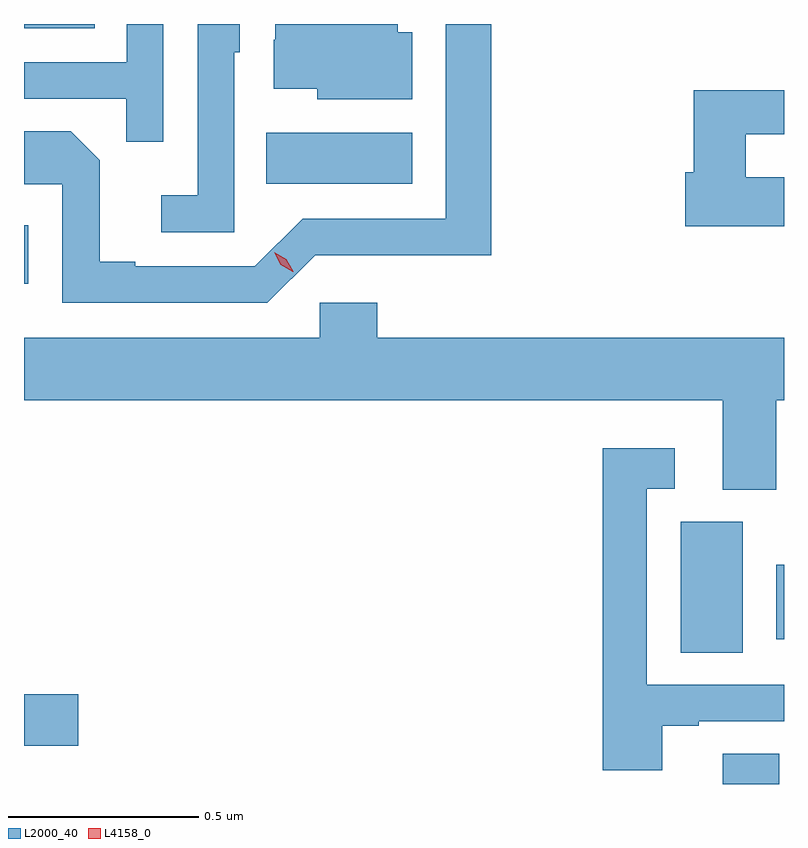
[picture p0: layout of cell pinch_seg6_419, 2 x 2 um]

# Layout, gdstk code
import gdstk
lib = gdstk.Library(unit=1e-6, precision=1e-09)
def R(c, l, rs):  # rectangles x0, y0, x1, y1
    for r in rs: c.add(gdstk.rectangle(r[:2], r[2:], *l))
def P(c, l, *ps):  # polygons
    for p in ps: c.add(gdstk.Polygon(p, *l))
L2000_40 = (2000, 40)
L4158_0 = (4158, 0)

pinch_seg6_419 = lib.new_cell('pinch_seg6_419')
R(pinch_seg6_419, L2000_40, [(649.835,917.022,649.983,917.102), (647.996,917.123,648.139,917.258), (649.724,917.368,649.888,917.712), (649.976,917.403,649.996,917.599), (647.996,918.338,648.007,918.492), (648.634,918.602,649.018,918.736), (647.996,919.011,648.182,919.022)])
P(pinch_seg6_419, L2000_40, [(649.018,919),(648.979,919),(648.979,919.022),(648.657,919.022),(648.657,918.98),(648.653,918.98),(648.653,918.851),(648.768,918.851),(648.768,918.824),(649.018,918.824)],
  [(648.363,919.022),(648.267,919.022),(648.267,918.921),(647.996,918.921),(647.996,918.825),(648.265,918.825),(648.265,918.712),(648.363,918.712)],
  [(648.549,918.948),(648.564,918.948),(648.564,919.022),(648.453,919.022),(648.453,918.571),(648.357,918.571),(648.357,918.474),(648.549,918.474)],
  [(648.762,918.414),(648.984,918.414),(648.984,918.413),(649.225,918.413),(649.225,919.022),(649.106,919.022),(649.106,918.51),(648.729,918.51),(648.603,918.384),(648.289,918.384),(648.289,918.397),(648.195,918.397),(648.195,918.664),(648.119,918.74),(647.996,918.74),(647.996,918.6),(648.096,918.6),(648.096,918.288),(648.636,918.288)],
  [(649.996,918.619),(649.895,918.619),(649.895,918.732),(649.996,918.732),(649.996,918.848),(649.759,918.848),(649.759,918.632),(649.736,918.632),(649.736,918.49),(649.996,918.49)],
  [(648.926,918.289),(648.774,918.289),(648.774,918.196),(647.996,918.196),(647.996,918.032),(649.835,918.032),(649.835,917.797),(649.975,917.797),(649.975,918.032),(649.996,918.032),(649.996,918.196),(648.926,918.196)],
  [(649.675,917.175),(649.771,917.175),(649.771,917.187),(649.996,917.187),(649.996,917.283),(649.635,917.283),(649.635,917.799),(649.708,917.799),(649.708,917.905),(649.519,917.905),(649.519,917.058),(649.675,917.058)])
P(pinch_seg6_419, L4158_0, [(648.703,918.37),(648.672,918.389),(648.655,918.422),(648.655,918.422),(648.655,918.422),(648.686,918.403),(648.704,918.371),(648.704,918.37)])

lib.write_gds('pinch_seg6_419.gds')
